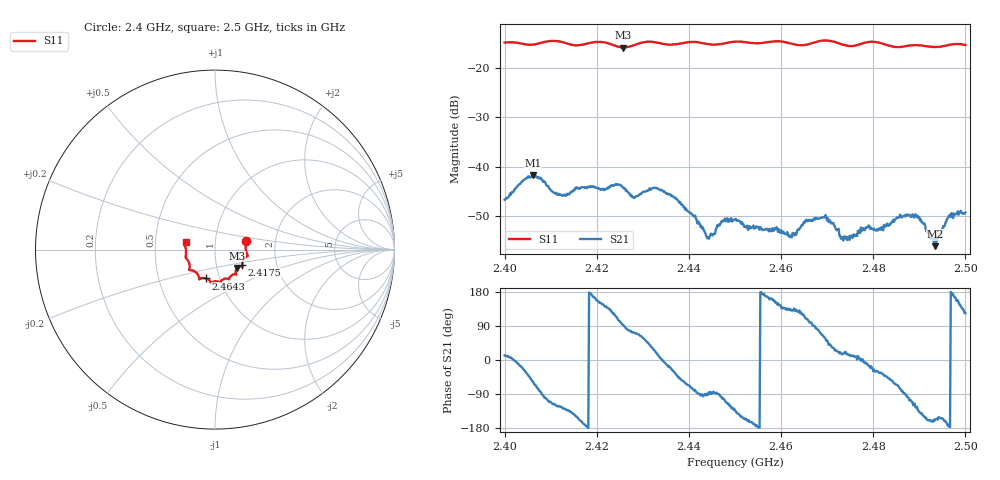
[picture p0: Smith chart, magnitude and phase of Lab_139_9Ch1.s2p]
# Hz S RI R
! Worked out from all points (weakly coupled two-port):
!   601 points, 2.4 GHz to 2.5 GHz, reference 50 ohm
!   highest |S21| = -41.74 dB at 2.4062 GHz (marker M1); lowest = -56.1 dB at 2.4935 GHz (marker M2)
!   lowest |S11| = -15.9 dB at 2.4257 GHz (marker M3), VSWR 1.38, Z = 62.5 - j13.1 ohm
!   |S11| at or under -10 dB: start of sweep to end of sweep
!   S12 and S22 are empty: the file has one direction only
!   S11 on the Smith chart (normalised r, x): 2.4 GHz: 1.41, +0.14; 2.4175 GHz: 1.34, -0.23; 2.4643 GHz: 0.86, -0.29; 2.5 GHz: 0.72, +0.06
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2.4e9  0.1726 0.0489  0.00453 0.000968  0 0  0 0
2.406167e9  0.1712 0.000347  0.00443 -0.00688  0 0  0 0
2.412e9  0.1798 -0.0375  -0.00276 -0.00443  0 0  0 0
2.416667e9  0.1528 -0.0742  -0.00588 -0.00194  0 0  0 0
2.4175e9  0.1517 -0.0836  -0.00614 -0.00088  0 0  0 0
2.425667e9  0.1229 -0.102  -0.000267 0.00613  0 0  0 0
2.428167e9  0.1146 -0.1245  0.00154 0.00457  0 0  0 0
2.433333e9  0.1131 -0.1372  0.00584 0.00137  0 0  0 0
2.437667e9  0.0837 -0.1523  0.00318 -0.00327  0 0  0 0
2.444e9  0.0637 -0.1611  2.01e-05 -0.00189  0 0  0 0
2.447333e9  0.0384 -0.1702  -0.000599 -0.00272  0 0  0 0
2.45e9  0.029 -0.1811  -0.00202 -0.00215  0 0  0 0
2.462e9  -0.03 -0.173  -0.00136 0.00138  0 0  0 0
2.464333e9  -0.0498 -0.161  -0.00145 0.00204  0 0  0 0
2.466667e9  -0.0758 -0.1593  -0.000339 0.00284  0 0  0 0
2.469667e9  -0.0885 -0.166  0.00184 0.00268  0 0  0 0
2.473833e9  -0.0963 -0.1383  0.00177 0.000649  0 0  0 0
2.483333e9  -0.1409 -0.0901  0.00169 -0.00187  0 0  0 0
2.4895e9  -0.1633 -0.0428  -0.00171 -0.00257  0 0  0 0
2.4935e9  -0.1614 -0.00815  -0.00144 -0.000629  0 0  0 0
2.4965e9  -0.1682 0.0237  -0.00322 -0.000223  0 0  0 0
2.5e9  -0.164 0.0429  -0.00189 0.00287  0 0  0 0
